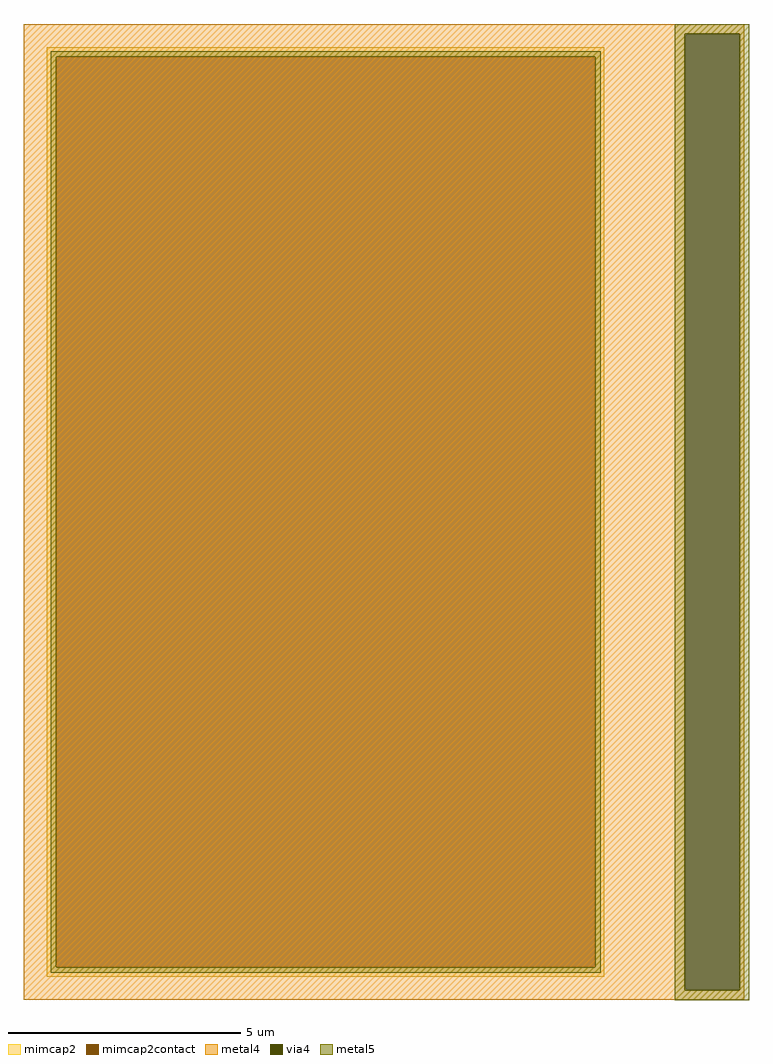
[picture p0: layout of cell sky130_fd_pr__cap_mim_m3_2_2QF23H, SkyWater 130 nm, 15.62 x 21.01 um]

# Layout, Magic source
magic
tech sky130B
magscale 1 2
<< metal4 >>
rect -1551 2059 1551 2100
rect -1551 -2059 1295 2059
rect 1531 -2059 1551 2059
rect -1551 -2100 1551 -2059
<< via4 >>
rect 1295 -2059 1531 2059
<< mimcap2 >>
rect -1451 1960 949 2000
rect -1451 -1960 -1411 1960
rect 909 -1960 949 1960
rect -1451 -2000 949 -1960
<< mimcap2contact >>
rect -1411 -1960 909 1960
<< metal5 >>
rect 1253 2059 1573 2101
rect -1435 1960 933 1984
rect -1435 -1960 -1411 1960
rect 909 -1960 933 1960
rect -1435 -1984 933 -1960
rect 1253 -2059 1295 2059
rect 1531 -2059 1573 2059
rect 1253 -2101 1573 -2059
<< properties >>
string FIXED_BBOX -1551 -2100 1049 2100
string gencell sky130_fd_pr__cap_mim_m3_2
string library sky130
string parameters w 12 l 20 val 492.16 carea 2.00 cperi 0.19 nx 1 ny 1 dummy 0 square 0 lmin 2.00 wmin 2.00 lmax 30.0 wmax 30.0 dc 0 bconnect 1 tconnect 1 ccov 100
<< end >>
